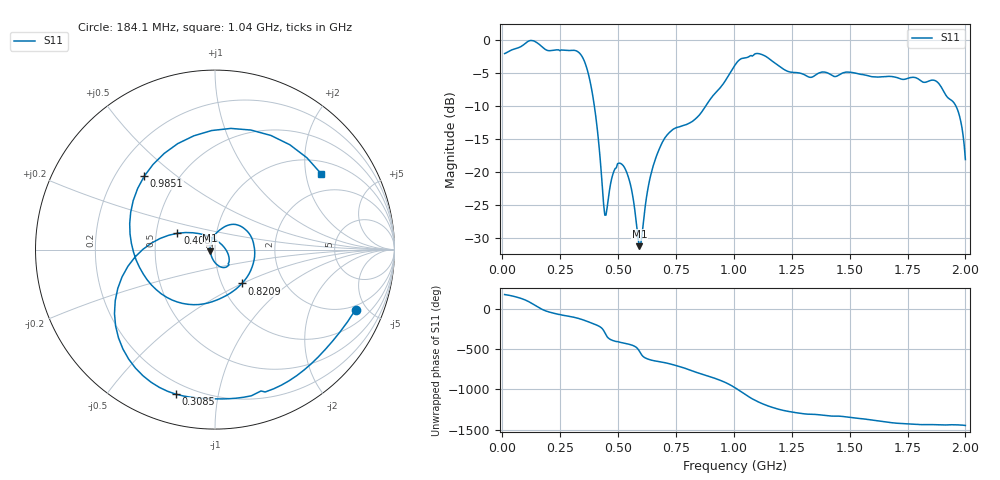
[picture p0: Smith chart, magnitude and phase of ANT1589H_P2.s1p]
!Created with skrf (http://scikit-rf.org).
# Hz S RI R 50.0
!freq ReS11 ImS11
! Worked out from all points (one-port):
!   401 points, 10 MHz to 2 GHz, reference 50 ohm
!   lowest |S11| = -31.3 dB at 592.1 MHz (marker M1), VSWR 1.06, Z = 47.4 - j0.613 ohm
!   |S11| at or under -10 dB: 397.4 MHz to 878.9 MHz (481.5 MHz wide, 75.4 % of centre); 1.959 GHz to end of sweep
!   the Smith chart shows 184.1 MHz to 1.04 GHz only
!   S11 on the Smith chart (normalised r, x): 184.1 MHz: 1.73, -4.21; 308.5 MHz: 0.14, -0.75; 408 MHz: 0.64, +0.12; 820.9 MHz: 1.24, -0.50; 985.1 MHz: 0.32, +0.39; 1.04 GHz: 1.37, +2.45
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1e7  -0.7861 0.0563
6.97e7  -0.6493 0.5829
1.14475e8  0.047 0.9804
1.493e8  0.8402 0.4521
1.84125e8  0.7831 -0.3342
2.5875e8  0.1592 -0.8227
3.085e8  -0.2194 -0.8051
3.5825e8  -0.56 -0.3554
4.08e8  -0.2093 0.0908
4.42825e8  0.0214 0.0417
5.075e8  0.0661 -0.0956
5.92075e8  -0.0265 -0.00645
6.61725e8  0.0402 0.1188
7.5625e8  0.2136 0.0395
8.20925e8  0.1498 -0.1888
9.10475e8  -0.2704 -0.2651
9.851e8  -0.3945 0.4086
1.005e9  -0.1179 0.634
1.039825e9  0.5924 0.4214
1.069675e9  0.7075 -0.266
1.11445e9  0.0381 -0.7809
1.169175e9  -0.5673 -0.3818
1.25375e9  -0.5252 0.2155
1.5025e9  -0.0239 0.5684
1.75125e9  0.5005 0.1045
1.885575e9  0.4662 -0.00407
1.965175e9  0.2986 -0.000674
2e9  0.1227 -0.0162
